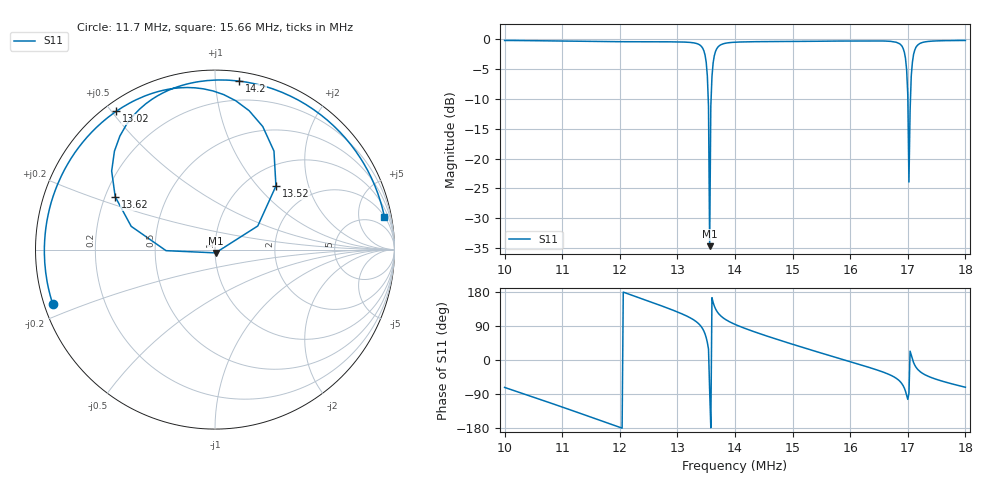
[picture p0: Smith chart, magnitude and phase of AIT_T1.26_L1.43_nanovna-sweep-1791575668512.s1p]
! NanoVNA Web complex sweep
! Processing: original sample grid, no browser smoothing
# Hz S RI R 50
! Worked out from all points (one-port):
!   401 points, 10 MHz to 18 MHz, reference 50 ohm
!   lowest |S11| = -34.7 dB at 13.56 MHz (marker M1), VSWR 1.04, Z = 50.3 - j1.83 ohm
!   |S11| at or under -10 dB: 13.53492 MHz to 13.58514 MHz (50.22 kHz wide, 0.37 % of centre); 17.00086 MHz to 17.04673 MHz (45.87 kHz wide, 0.269 % of centre)
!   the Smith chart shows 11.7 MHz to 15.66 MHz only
!   S11 on the Smith chart (normalised r, x): 11.7 MHz: 0.02, -0.16; 13.02 MHz: 0.03, +0.51; 13.52 MHz: 1.35, +1.26; 13.62 MHz: 0.24, +0.23; 14.2 MHz: 0.06, +1.15; 15.66 MHz: 2, +10
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1e7  0.295 -0.9275
1.1e7  -0.541 -0.7974
1.17e7  -0.9044 -0.3024
1.2e7  -0.9503 -0.039
1.3e7  -0.5673 0.7585
1.302e7  -0.5506 0.7703
1.34e7  -0.0114 0.884
1.348e7  0.2661 0.6856
1.35e7  0.3286 0.5488
1.352e7  0.3395 0.3542
1.356e7  0.00292 -0.0182
1.36e7  -0.467 0.1297
1.362e7  -0.556 0.2944
1.374e7  -0.4204 0.7823
1.4e7  -0.0659 0.9391
1.42e7  0.1345 0.9389
1.5e7  0.7163 0.6329
1.566e7  0.9439 0.1818
1.6e7  0.9592 -0.0763
1.66e7  0.8034 -0.532
1.688e7  0.4585 -0.7674
1.694e7  0.2124 -0.7471
1.7e7  -0.0813 -0.3299
1.706e7  0.4776 0.1119
1.71e7  0.7384 -0.0864
1.716e7  0.8106 -0.3378
1.742e7  0.6559 -0.7031
1.8e7  0.3028 -0.9256
